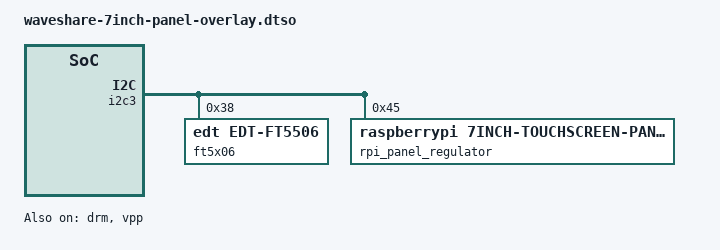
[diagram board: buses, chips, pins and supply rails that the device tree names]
// SPDX-License-Identifier: GPL-2.0+

/dts-v1/;
/plugin/;

&i2c3 {
	ft5x06: ts@38 {
		compatible = "edt,edt-ft5506";
		reg = <0x38>;

		touchscreen-size-x = <800>;
		touchscreen-size-y = <480>;

		touchscreen-inverted-x;
		touchscreen-inverted-y;
	};

	rpi_panel_regulator: rpi_panel_regulator@45 {
		compatible = "raspberrypi,7inch-touchscreen-panel-regulator";
		reg = <0x45>;
		gpio-controller;
		#gpio-cells = <2>;
	};
};

&drm {
	status = "okay";

	dsi_panel {
		status = "okay";
		power-supply = <&rpi_panel_regulator>;
		backlight = <&rpi_panel_regulator>;

		NO_OF_RESID = <1>;
		DSI_RES = <102>;
		ACTIVE_WIDTH = <800>;
		HFP = <70>;
		HSYNCWIDTH = <20>;
		HBP = <26>;
		ACTIVE_HEIGHT = <480>;
		VFP = <7>;
		VSYNCWIDTH = <2>;
		VBP = <21>;
		TYPE = <1>;
		SCAN = <0>;
		FRAME_RATE = <9>;
		FLAG_3D = <0>;
		FREQ = <28030>;
		PTS_PER_4 = <6000>;

		bits_per_pixel = <24>;
		busformat = <0>;

		VB_MIN = /bits/ 8 <6>;
		HB_MIN = /bits/ 8 <30>;
		V_OFF = /bits/ 8 <6>;
		H_OFF = /bits/ 8 <20>;
		HB_VOP_OFF = /bits/ 8 <8>;
		VB_VOP_OFF = /bits/ 8 <3>;
		HB_BE = /bits/ 8 <7>;
		VB_BE = /bits/ 8 <2>;
		VB_FP = /bits/ 8 <2>;
		HB_FP = /bits/ 8 <10>;
		PIXEL_CLOCK = <28030>;

		HTOTAL = <916>;
		Lanes = /bits/ 8 <1>;
		Vid_mode = /bits/ 8 <2>;
		virtual_chan = /bits/ 8 <0>;
		Clk_Lane_Polarity = /bits/ 8 <0>;
		Data_Lane_Polarity = /bits/ 8 <0>;
		Recv_ack = /bits/ 8 <0>;
		Loosely_18 = /bits/ 8 <0>;
		H_polarity = /bits/ 8 <1>;
		V_Polarity = /bits/ 8 <1>;
		Data_Polarity = /bits/ 8 <1>;
		Eotp_tx = /bits/ 8 <1>;
		Eotp_rx = /bits/ 8 <0>;
		non-Continuous_clk = /bits/ 8 <0>;
		dpi_lp_cmd = /bits/ 8 <1>;
		Color_coding = /bits/ 8 <5>;
		Chunks = <0>;
		Null_Pkt = <0>;
		Byte_clk = <84090>;
		command = /bits/ 8 <0x29 0x06 0x10 0x02 0x03 0x00 0x00 0x00
		     0x29 0x06 0x64 0x01 0x0c 0x00 0x00 0x00
		     0x29 0x06 0x68 0x01 0x0c 0x00 0x00 0x00
		     0x29 0x06 0x44 0x01 0x00 0x00 0x00 0x00
		     0x29 0x06 0x48 0x01 0x00 0x00 0x00 0x00
		     0x29 0x06 0x14 0x01 0x15 0x00 0x00 0x00
		     0x29 0x06 0x50 0x04 0x60 0x00 0x00 0x00
		     0x29 0x06 0x20 0x04 0x52 0x01 0x10 0x00
		     0x29 0x06 0x28 0x04 0x20 0x03 0x69 0x00
		     0x29 0x06 0x2c 0x04 0x02 0x00 0x15 0x00
		     0x29 0x06 0x30 0x04 0xe0 0x01 0x07 0x00
		     0x29 0x06 0x34 0x04 0x0f 0x04 0x00 0x00
		     0x29 0x06 0x64 0x04 0x0f 0x04 0x00 0x00
		     0x29 0x06 0x04 0x01 0x01 0x00 0x00 0x00
		     0x29 0x06 0x04 0x02 0x01 0x00 0x00 0x00
		     0xff 0xc0 0xd4 0x01 0x00
		     0xff 0x10 0x27 0x00 0x00>;
	};
};

&vpp {
	status = "okay";
	enable_ampless_boot = <1>;
};
